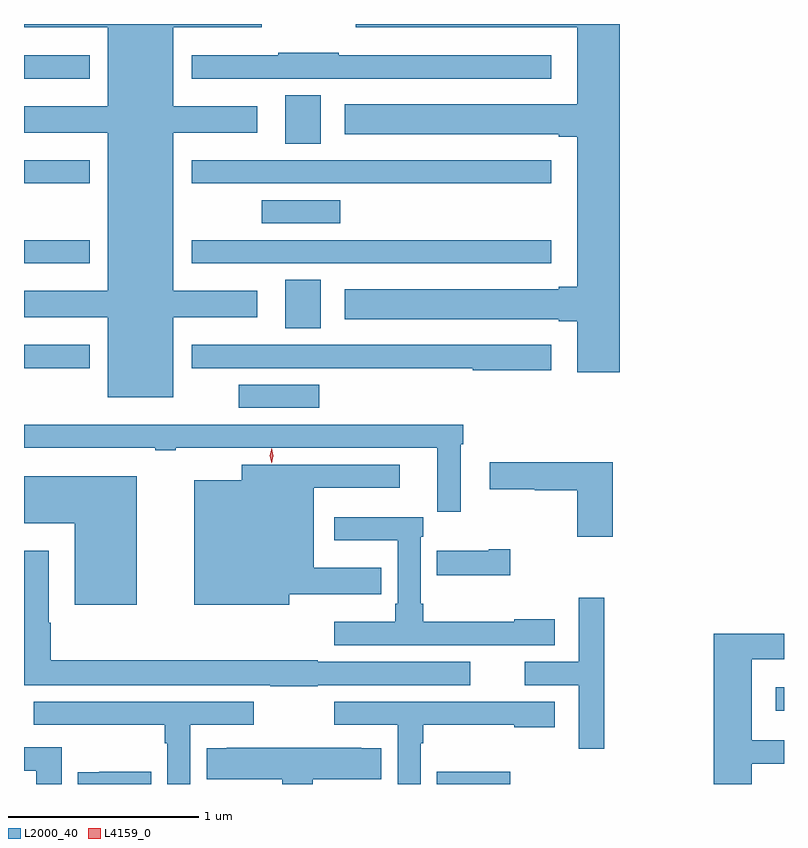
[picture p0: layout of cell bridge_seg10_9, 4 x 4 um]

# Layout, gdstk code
import gdstk
lib = gdstk.Library(unit=1e-6, precision=1e-09)
def R(c, l, rs):  # rectangles x0, y0, x1, y1
    for r in rs: c.add(gdstk.rectangle(r[:2], r[2:], *l))
def P(c, l, *ps):  # polygons
    for p in ps: c.add(gdstk.Polygon(p, *l))
L2000_40 = (2000, 40)
L4159_0 = (4159, 0)

bridge_seg10_9 = lib.new_cell('bridge_seg10_9')
R(bridge_seg10_9, L2000_40, [(1063.376,1281.063,1063.762,1281.127), (1065.159,1281.449,1065.203,1281.571), (1062.333,1283.042,1062.757,1283.164), (1061.203,1283.252,1061.548,1283.374), (1062.578,1283.462,1062.766,1283.716), (1061.203,1283.804,1061.548,1283.926), (1062.087,1283.804,1063.978,1283.926), (1062.453,1284.014,1062.868,1284.136), (1061.203,1284.224,1061.548,1284.346), (1062.087,1284.224,1063.978,1284.346), (1062.578,1284.434,1062.766,1284.688), (1061.203,1284.776,1061.548,1284.898)])
P(bridge_seg10_9, L2000_40, [(1064.338,1285.063),(1062.948,1285.063),(1062.948,1285.046),(1064.114,1285.046),(1064.114,1284.64),(1062.891,1284.64),(1062.891,1284.482),(1064.018,1284.482),(1064.018,1284.47),(1064.114,1284.47),(1064.114,1283.681),(1064.018,1283.681),(1064.018,1283.668),(1062.891,1283.668),(1062.891,1283.51),(1064.018,1283.51),(1064.018,1283.498),(1064.114,1283.498),(1064.114,1283.231),(1064.338,1283.231)],
  [(1061.989,1283.519),(1062.43,1283.519),(1062.43,1283.659),(1061.989,1283.659),(1061.989,1284.491),(1062.43,1284.491),(1062.43,1284.631),(1061.989,1284.631),(1061.989,1285.046),(1062.454,1285.046),(1062.454,1285.063),(1061.203,1285.063),(1061.203,1285.046),(1061.645,1285.046),(1061.645,1284.631),(1061.205,1284.631),(1061.205,1284.491),(1061.645,1284.491),(1061.645,1283.659),(1061.205,1283.659),(1061.205,1283.519),(1061.645,1283.519),(1061.645,1283.099),(1061.989,1283.099)],
  [(1063.978,1284.898),(1062.86,1284.898),(1062.86,1284.911),(1062.541,1284.911),(1062.541,1284.898),(1062.087,1284.898),(1062.087,1284.776),(1063.978,1284.776)],
  [(1063.978,1283.374),(1062.087,1283.374),(1062.087,1283.252),(1063.565,1283.252),(1063.565,1283.24),(1063.978,1283.24)],
  [(1063.501,1282.85),(1063.514,1282.85),(1063.514,1282.954),(1061.203,1282.954),(1061.203,1282.832),(1061.893,1282.832),(1061.893,1282.82),(1062.002,1282.82),(1062.002,1282.832),(1063.379,1282.832),(1063.379,1282.497),(1063.501,1282.497)],
  [(1064.302,1282.757),(1063.653,1282.757),(1063.653,1282.615),(1063.892,1282.615),(1063.892,1282.61),(1064.114,1282.61),(1064.114,1282.364),(1064.302,1282.364)],
  [(1062.598,1282.061),(1063.084,1282.061),(1063.084,1282.201),(1062.727,1282.201),(1062.727,1282.622),(1063.18,1282.622),(1063.18,1282.744),(1062.35,1282.744),(1062.35,1282.663),(1062.098,1282.663),(1062.098,1282.007),(1062.598,1282.007)],
  [(1061.797,1282.684),(1061.203,1282.684),(1061.203,1282.436),(1061.471,1282.436),(1061.471,1282.007),(1061.797,1282.007)],
  [(1063.996,1281.929),(1063.783,1281.929),(1063.783,1281.916),(1063.304,1281.916),(1063.304,1282.012),(1063.291,1282.012),(1063.291,1282.364),(1063.303,1282.364),(1063.303,1282.468),(1062.837,1282.468),(1062.837,1282.346),(1063.169,1282.346),(1063.169,1282.012),(1063.157,1282.012),(1063.157,1281.916),(1062.837,1281.916),(1062.837,1281.794),(1063.996,1281.794)],
  [(1063.762,1282.299),(1063.649,1282.299),(1063.649,1282.291),(1063.376,1282.291),(1063.376,1282.163),(1063.762,1282.163)],
  [(1062.749,1281.584),(1063.552,1281.584),(1063.552,1281.706),(1062.749,1281.706),(1062.749,1281.714),(1061.345,1281.714),(1061.345,1281.911),(1061.332,1281.911),(1061.332,1282.291),(1061.203,1282.291),(1061.203,1282.067),(1061.204,1282.067),(1061.204,1281.584),(1062.499,1281.584),(1062.499,1281.577),(1062.749,1281.577)],
  [(1064.258,1282.042),(1064.123,1282.042),(1064.123,1281.706),(1063.839,1281.706),(1063.839,1281.584),(1064.123,1281.584),(1064.123,1281.249),(1064.258,1281.249)],
  [(1065.034,1281.17),(1065.203,1281.17),(1065.203,1281.292),(1065.034,1281.292),(1065.034,1281.719),(1065.203,1281.719),(1065.203,1281.854),(1064.834,1281.854),(1064.834,1281.063),(1065.034,1281.063)],
  [(1062.079,1281.374),(1062.412,1281.374),(1062.412,1281.496),(1061.253,1281.496),(1061.253,1281.374),(1061.945,1281.374),(1061.945,1281.278),(1061.957,1281.278),(1061.957,1281.063),(1062.079,1281.063)],
  [(1063.291,1281.278),(1063.304,1281.278),(1063.304,1281.374),(1063.783,1281.374),(1063.783,1281.362),(1063.996,1281.362),(1063.996,1281.496),(1062.837,1281.496),(1062.837,1281.374),(1063.169,1281.374),(1063.169,1281.063),(1063.291,1281.063)],
  [(1061.401,1281.256),(1061.203,1281.256),(1061.203,1281.134),(1061.267,1281.134),(1061.267,1281.063),(1061.401,1281.063)],
  [(1062.724,1281.089),(1063.084,1281.089),(1063.084,1281.252),(1062.977,1281.252),(1062.977,1281.253),(1062.271,1281.253),(1062.271,1281.252),(1062.164,1281.252),(1062.164,1281.089),(1062.563,1281.089),(1062.563,1281.063),(1062.724,1281.063)],
  [(1061.872,1281.127),(1061.599,1281.127),(1061.599,1281.126),(1061.487,1281.126),(1061.487,1281.063),(1061.872,1281.063)])
P(bridge_seg10_9, L4159_0, [(1062.506,1282.75),(1062.506,1282.75),(1062.496,1282.791),(1062.506,1282.831),(1062.506,1282.831),(1062.506,1282.831),(1062.516,1282.791),(1062.506,1282.75)])

lib.write_gds('bridge_seg10_9.gds')
